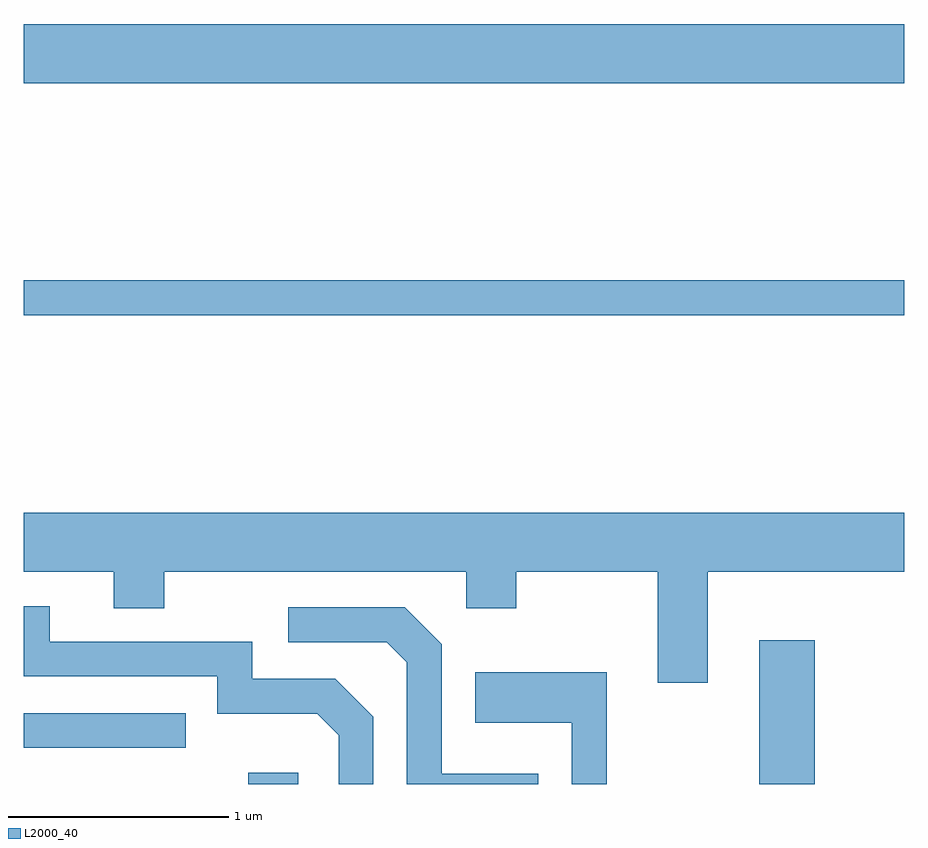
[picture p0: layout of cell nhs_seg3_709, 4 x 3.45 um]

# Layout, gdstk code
import gdstk
lib = gdstk.Library(unit=1e-6, precision=1e-09)
def R(c, l, rs):  # rectangles x0, y0, x1, y1
    for r in rs: c.add(gdstk.rectangle(r[:2], r[2:], *l))
def P(c, l, *ps):  # polygons
    for p in ps: c.add(gdstk.Polygon(p, *l))
L2000_40 = (2000, 40)

nhs_seg3_709 = lib.new_cell('nhs_seg3_709')
R(nhs_seg3_709, L2000_40, [(206.631,1173.892,206.859,1173.944), (208.951,1173.892,209.204,1174.544), (205.611,1174.056,206.348,1174.214), (205.611,1176.021,209.611,1176.179), (205.611,1177.076,209.611,1177.344)])
P(nhs_seg3_709, L2000_40, [(208.719,1174.856),(209.611,1174.856),(209.611,1175.124),(205.611,1175.124),(205.611,1174.856),(206.021,1174.856),(206.021,1174.691),(206.249,1174.691),(206.249,1174.856),(207.621,1174.856),(207.621,1174.691),(207.849,1174.691),(207.849,1174.856),(208.491,1174.856),(208.491,1174.351),(208.719,1174.351)],
  [(207.199,1174.197),(207.027,1174.369),(206.649,1174.369),(206.649,1174.539),(205.729,1174.539),(205.729,1174.699),(205.611,1174.699),(205.611,1174.381),(206.491,1174.381),(206.491,1174.211),(206.944,1174.211),(207.041,1174.114),(207.041,1173.892),(207.199,1173.892)],
  [(207.949,1173.939),(207.509,1173.939),(207.509,1174.527),(207.342,1174.694),(206.813,1174.694),(206.813,1174.536),(207.259,1174.536),(207.351,1174.444),(207.351,1173.892),(207.949,1173.892)],
  [(208.259,1174.399),(207.661,1174.399),(207.661,1174.171),(208.101,1174.171),(208.101,1173.892),(208.259,1173.892)])

lib.write_gds('nhs_seg3_709.gds')
